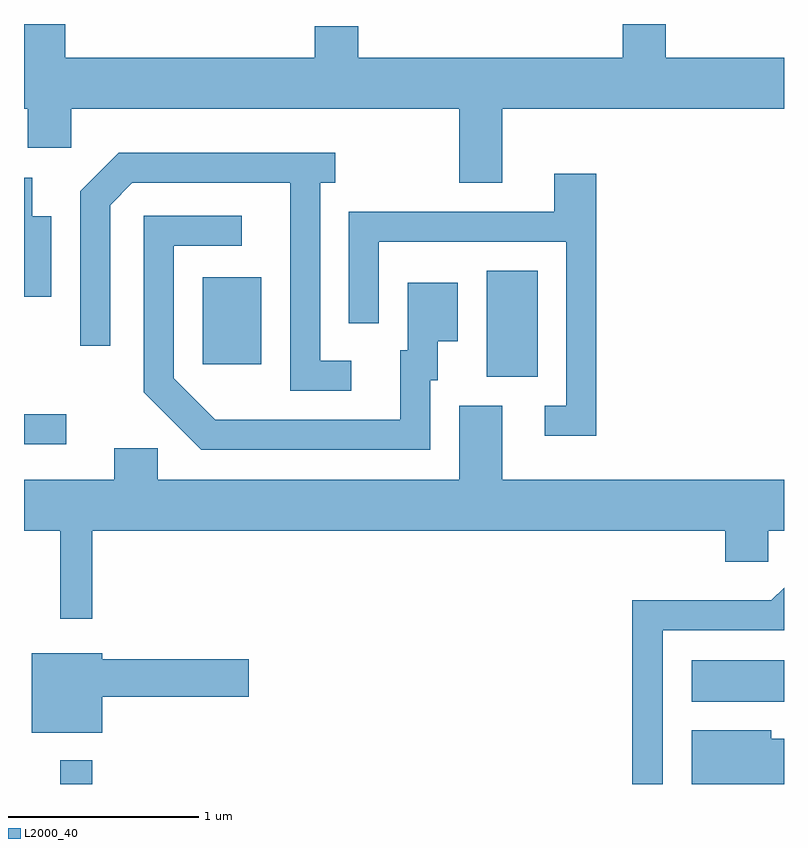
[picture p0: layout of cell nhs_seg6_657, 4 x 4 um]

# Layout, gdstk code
import gdstk
lib = gdstk.Library(unit=1e-6, precision=1e-09)
def R(c, l, rs):  # rectangles x0, y0, x1, y1
    for r in rs: c.add(gdstk.rectangle(r[:2], r[2:], *l))
def P(c, l, *ps):  # polygons
    for p in ps: c.add(gdstk.Polygon(p, *l))
L2000_40 = (2000, 40)

nhs_seg6_657 = lib.new_cell('nhs_seg6_657')
R(nhs_seg6_657, L2000_40, [(203.801,1644.162,203.969,1644.288), (207.126,1644.596,207.611,1644.814), (203.611,1645.951,203.833,1646.109), (206.046,1646.306,206.314,1646.864), (204.551,1646.371,204.859,1646.829)])
P(nhs_seg6_657, L2000_40, [(206.129,1647.716),(207.611,1647.716),(207.611,1647.984),(206.989,1647.984),(206.989,1648.162),(206.761,1648.162),(206.761,1647.984),(205.369,1647.984),(205.369,1648.149),(205.141,1648.149),(205.141,1647.984),(203.829,1647.984),(203.829,1648.162),(203.611,1648.162),(203.611,1647.716),(203.631,1647.716),(203.631,1647.511),(203.859,1647.511),(203.859,1647.716),(205.901,1647.716),(205.901,1647.326),(206.129,1647.326)],
  [(205.333,1646.389),(205.169,1646.389),(205.169,1647.326),(205.248,1647.326),(205.248,1647.484),(204.109,1647.484),(203.906,1647.282),(203.906,1646.468),(204.064,1646.468),(204.064,1647.209),(204.182,1647.326),(205.011,1647.326),(205.011,1646.231),(205.333,1646.231)],
  [(206.624,1647.374),(206.401,1647.374),(206.401,1647.174),(205.321,1647.174),(205.321,1646.588),(205.479,1646.588),(205.479,1647.016),(206.466,1647.016),(206.466,1646.154),(206.353,1646.154),(206.353,1645.996),(206.624,1645.996)],
  [(203.754,1647.149),(203.654,1647.149),(203.654,1647.354),(203.611,1647.354),(203.611,1646.726),(203.754,1646.726)],
  [(205.749,1646.286),(205.789,1646.286),(205.789,1646.491),(205.894,1646.491),(205.894,1646.799),(205.631,1646.799),(205.631,1646.444),(205.591,1646.444),(205.591,1646.079),(204.617,1646.079),(204.399,1646.297),(204.399,1646.996),(204.758,1646.996),(204.758,1647.154),(204.241,1647.154),(204.241,1646.224),(204.544,1645.921),(205.749,1645.921)],
  [(203.969,1645.496),(207.301,1645.496),(207.301,1645.331),(207.529,1645.331),(207.529,1645.496),(207.611,1645.496),(207.611,1645.764),(206.129,1645.764),(206.129,1646.154),(205.901,1646.154),(205.901,1645.764),(204.314,1645.764),(204.314,1645.929),(204.086,1645.929),(204.086,1645.764),(203.611,1645.764),(203.611,1645.496),(203.801,1645.496),(203.801,1645.033),(203.969,1645.033)],
  [(206.974,1644.971),(207.611,1644.971),(207.611,1645.196),(207.544,1645.129),(206.811,1645.129),(206.811,1644.162),(206.974,1644.162)],
  [(204.024,1644.621),(204.794,1644.621),(204.794,1644.819),(204.024,1644.819),(204.024,1644.849),(203.651,1644.849),(203.651,1644.431),(204.024,1644.431)],
  [(207.611,1644.399),(207.544,1644.399),(207.544,1644.444),(207.126,1644.444),(207.126,1644.162),(207.611,1644.162)])

lib.write_gds('nhs_seg6_657.gds')
